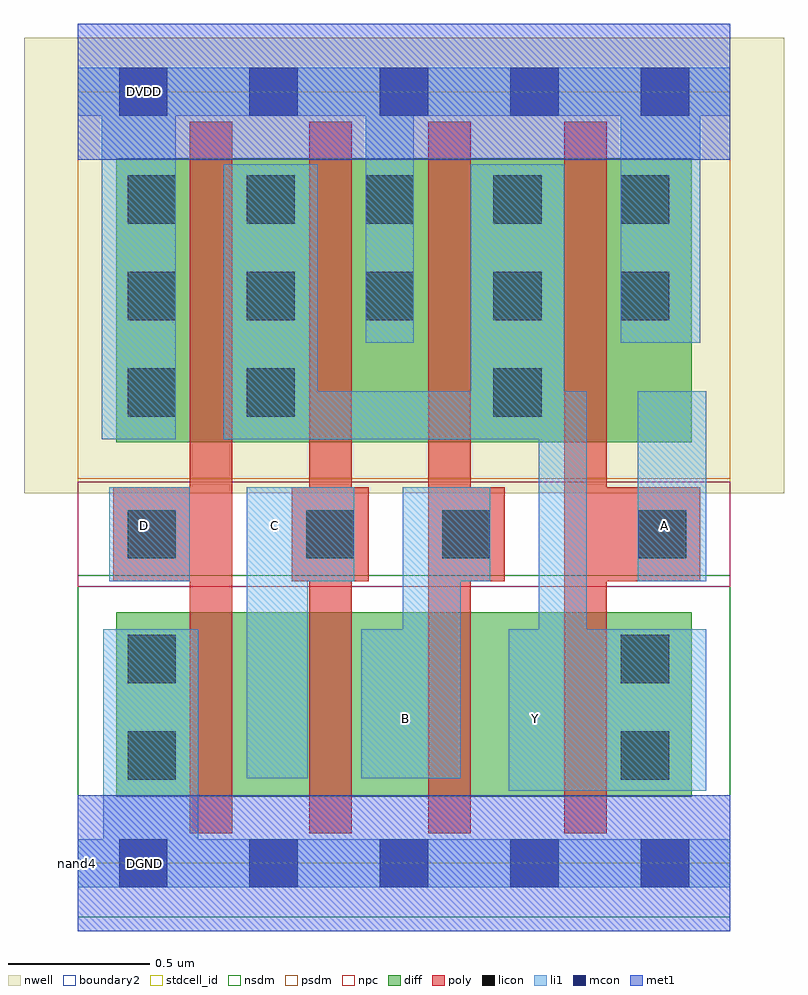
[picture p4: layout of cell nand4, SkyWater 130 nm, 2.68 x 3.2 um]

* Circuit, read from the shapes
.subckt nand4 A B C D DGND DVDD Y
XM1 n1 D DGND VSUBS sky130_fd_pr__nfet_01v8 w=0.65 l=0.15
XM2 n2 C n1 VSUBS sky130_fd_pr__nfet_01v8 w=0.65 l=0.15
XM3 n3 B n2 VSUBS sky130_fd_pr__nfet_01v8 w=0.65 l=0.15
XM4 Y A n3 VSUBS sky130_fd_pr__nfet_01v8 w=0.65 l=0.15
XM5 Y D DVDD n4 sky130_fd_pr__pfet_01v8 w=1 l=0.15
XM6 DVDD C Y n4 sky130_fd_pr__pfet_01v8 w=1 l=0.15
XM7 Y B DVDD n4 sky130_fd_pr__pfet_01v8 w=1 l=0.15
XM8 DVDD A Y n4 sky130_fd_pr__pfet_01v8 w=1 l=0.15
.ends

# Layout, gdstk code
import gdstk
lib = gdstk.Library(unit=1e-6, precision=1e-09)
def R(c, l, rs):  # rectangles x0, y0, x1, y1
    for r in rs: c.add(gdstk.rectangle(r[:2], r[2:], *l))
def A(c, l, x, y, w, h, nx, ny, dx, dy):  # array of equal rectangles
    R(c, l, [(x+i*dx, y+j*dy, x+i*dx+w, y+j*dy+h) for i in range(nx) for j in range(ny)])
def P(c, l, *ps):  # polygons
    for p in ps: c.add(gdstk.Polygon(p, *l))
nwell = (64, 20)
diff = (65, 20)
poly = (66, 20)
licon = (66, 44)
li1 = (67, 20)
mcon = (67, 44)
met1 = (68, 20)
stdcell_id = (81, 4)
nsdm = (93, 44)
psdm = (94, 20)
npc = (95, 20)
boundary2 = (236, 0)

nand4 = lib.new_cell('nand4')
R(nand4, nwell, [(-0.19,1.305,2.49,2.91)])
R(nand4, diff, [(0.135,0.235,2.165,0.885), (0.135,1.485,2.165,2.485)])
P(nand4, poly, [(0.815,0.105),(0.815,0.995),(0.755,0.995),(0.755,1.325),(0.815,1.325),(0.815,2.615),(0.965,2.615),(0.965,1.325),(1.025,1.325),(1.025,0.995),(0.965,0.995),(0.965,0.105)],
  [(1.715,0.105),(1.715,2.615),(1.865,2.615),(1.865,1.325),(2.195,1.325),(2.195,0.995),(1.865,0.995),(1.865,0.105)],
  [(1.235,0.105),(1.235,2.615),(1.385,2.615),(1.385,1.325),(1.505,1.325),(1.505,0.995),(1.385,0.995),(1.385,0.105)],
  [(0.395,0.105),(0.395,0.995),(0.125,0.995),(0.125,1.325),(0.395,1.325),(0.395,2.615),(0.545,2.615),(0.545,0.105)])
A(nand4, licon, 1.465, 1.575, 0.17, 0.17, 1, 3, 0, 0.34)
A(nand4, licon, 0.175, 1.915, 0.17, 0.17, 3, 2, 0.42, 0.34)
R(nand4, licon, [(0.175,0.295,0.345,0.465), (1.915,0.295,2.085,0.465), (0.175,0.635,0.345,0.805), (1.915,0.635,2.085,0.805), (0.175,1.075,0.345,1.245), (0.805,1.075,0.975,1.245), (1.285,1.075,1.455,1.245), (1.975,1.075,2.145,1.245), (0.175,1.575,0.345,1.745), (0.595,1.575,0.765,1.745), (1.915,1.915,2.085,2.085), (1.915,2.255,2.085,2.425)])
R(nand4, li1, [(0.11,0.995,0.395,1.325), (1.975,0.995,2.215,1.665)])
P(nand4, li1, [(1.52,0.255),(1.52,0.825),(1.625,0.825),(1.625,1.495),(0.515,1.495),(0.515,2.465),(0.845,2.465),(0.845,1.665),(1.385,1.665),(1.385,2.465),(1.715,2.465),(1.715,1.665),(1.795,1.665),(1.795,0.825),(2.215,0.825),(2.215,0.255)],
  [(0,-0.085),(0,0.085),(0.09,0.085),(0.09,0.825),(0.425,0.825),(0.425,0.085),(2.3,0.085),(2.3,-0.085)],
  [(1,0.3),(1,0.825),(1.145,0.825),(1.145,1.325),(1.455,1.325),(1.455,0.995),(1.35,0.995),(1.35,0.3)],
  [(0.085,1.495),(0.085,2.635),(0,2.635),(0,2.805),(2.3,2.805),(2.3,2.635),(2.195,2.635),(2.195,1.835),(1.915,1.835),(1.915,2.635),(1.185,2.635),(1.185,1.835),(1.015,1.835),(1.015,2.635),(0.345,2.635),(0.345,1.495)],
  [(0.595,0.3),(0.595,1.325),(0.975,1.325),(0.975,0.995),(0.81,0.995),(0.81,0.3)])
A(nand4, mcon, 0.145, -0.085, 0.17, 0.17, 5, 2, 0.46, 2.72)
R(nand4, stdcell_id, [(0,0,2.3,2.72)])
R(nand4, nsdm, [(0,-0.19,2.3,1.015)])
R(nand4, psdm, [(0,1.355,2.3,2.91)])
R(nand4, npc, [(0,0.975,2.3,1.345)])
R(nand4, boundary2, [(0,0,2.3,2.72)])
nand4.add(gdstk.FlexPath([(0,2.72),(2.3,2.72)], 0.48, ends="flush", simple_path=True, layer=68, datatype=20))  # met1
nand4.add(gdstk.FlexPath([(0,0),(2.3,0)], 0.48, ends="flush", simple_path=True, layer=68, datatype=20))  # met1
nand4.add(gdstk.Label('nand4', (0,0), layer=83, texttype=44))
nand4.add(gdstk.Label('DVDD', (0.235,2.72), layer=68, texttype=5))
nand4.add(gdstk.Label('DGND', (0.235,0), layer=68, texttype=5))
nand4.add(gdstk.Label('C', (0.695,1.19), layer=67, texttype=5))
nand4.add(gdstk.Label('B', (1.155,0.51), layer=67, texttype=5))
nand4.add(gdstk.Label('Y', (1.615,0.51), layer=67, texttype=5))
nand4.add(gdstk.Label('D', (0.235,1.19), layer=67, texttype=5))
nand4.add(gdstk.Label('A', (2.07,1.19), layer=67, texttype=5))

lib.write_gds('nand4.gds')
